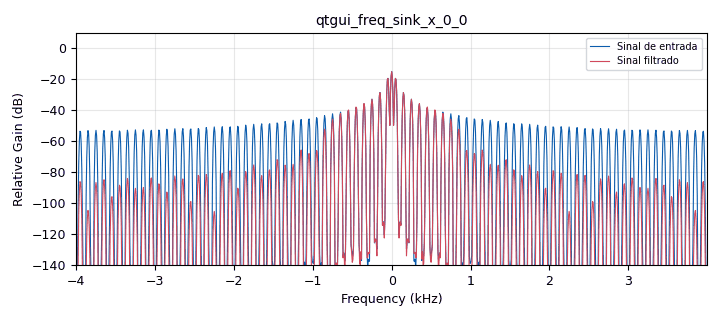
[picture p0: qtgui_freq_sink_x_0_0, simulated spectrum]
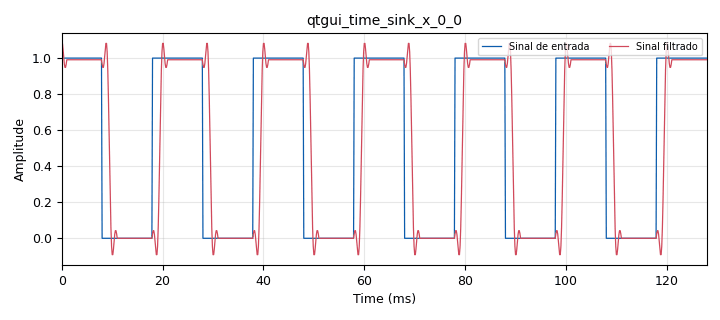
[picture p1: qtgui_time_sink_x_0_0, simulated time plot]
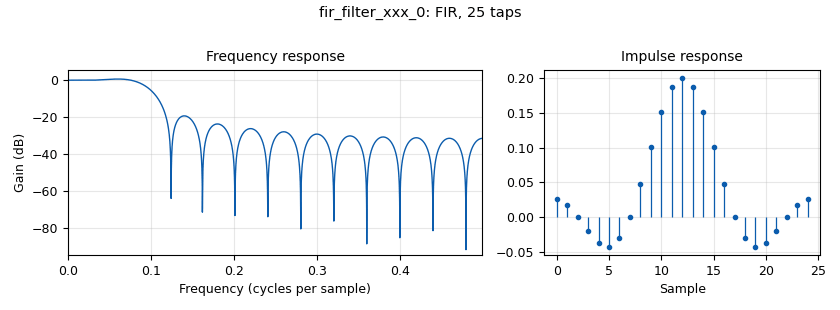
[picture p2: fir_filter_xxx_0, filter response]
options:
  parameters:
    author: Leocarlos B S Lima
    category: Custom
    description: Experimento para Laboratório de Princípios de Comunicações. Departamento de Engenharia Elétrica - DEE da Universidade Federal de Campina Grande - UFCG.
    generate_options: qt_gui
    id: Labo2_1a
    output_language: python
    title: Filtragem de sinais
  states: {}

blocks:
- name: f
  id: variable_qtgui_range
  parameters:
    label: freq
    start: '0'
    step: '1'
    stop: '1000'
    value: '50'
  states: {}
- name: samp_rate
  id: variable
  parameters:
    value: '8000'
  states: {}
- name: analog_sig_source_x_0
  id: analog_sig_source_x
  parameters:
    amp: '1'
    freq: f
    offset: '0'
    phase: '0'
    samp_rate: samp_rate
    type: float
    waveform: analog.GR_SQR_WAVE
  states: {}
- name: blocks_throttle_0
  id: blocks_throttle
  parameters:
    samples_per_second: samp_rate
    type: float
  states: {}
- name: fir_filter_xxx_0
  id: fir_filter_xxx
  parameters:
    decim: '1'
    taps: "[ 0.0252 ,\t0.0170 ,\t-0.0000, \t-0.0208, \t-0.0378, \t-0.0432 ,\t-0.0312 ,\t0.0000 ,\t0.0468 ,\t0.1009, \t0.1514 ,\t0.1871, \t0.2000 ,\t0.1871 ,\t0.1514 ,\t0.1009 ,\t0.0468, \t0.0000 ,\t-0.0312, \t-0.0432 ,\t-0.0378 ,\t-0.0208, \t-0.0000 ,\t0.0170 ,\t0.0252]"
    type: fff
  states: {}
- name: qtgui_freq_sink_x_0_0
  id: qtgui_freq_sink_x
  parameters:
    bw: samp_rate
    fc: '0'
    fftsize: '1024'
    grid: 'True'
    label1: Sinal de entrada
    label2: Sinal filtrado
    nconnections: '2'
    showports: 'True'
    type: float
  states: {}
- name: qtgui_time_sink_x_0_0
  id: qtgui_time_sink_x
  parameters:
    autoscale: 'True'
    grid: 'True'
    label1: Sinal de entrada
    label2: Sinal filtrado
    nconnections: '2'
    size: '1024'
    srate: samp_rate
    type: float
  states: {}

connections:
- [analog_sig_source_x_0, '0', blocks_throttle_0, '0']
- [blocks_throttle_0, '0', fir_filter_xxx_0, '0']
- [blocks_throttle_0, '0', qtgui_freq_sink_x_0_0, '0']
- [blocks_throttle_0, '0', qtgui_time_sink_x_0_0, '0']
- [fir_filter_xxx_0, '0', qtgui_freq_sink_x_0_0, '1']
- [fir_filter_xxx_0, '0', qtgui_time_sink_x_0_0, '1']

metadata:
  file_format: 1
  grc_version: 3.10.9.2
